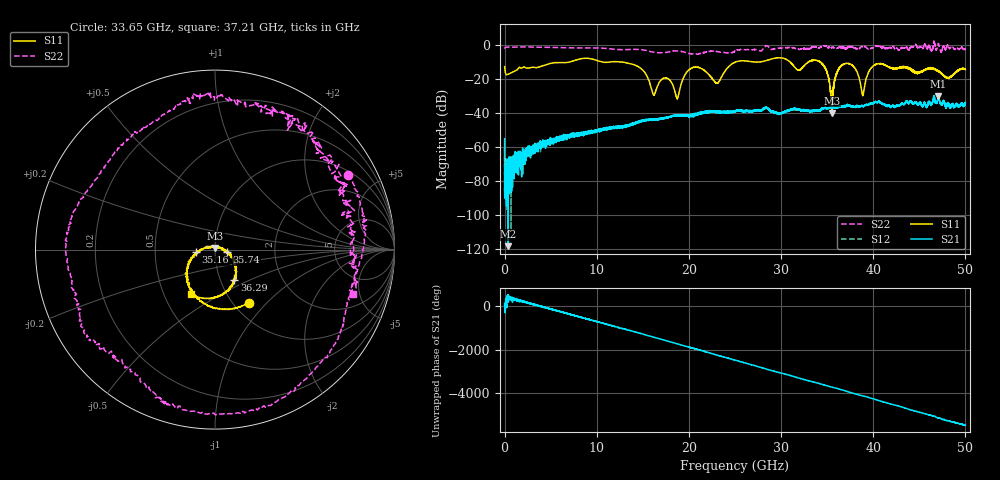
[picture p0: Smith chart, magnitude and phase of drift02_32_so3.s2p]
!Created with skrf (http://scikit-rf.org).
# Hz S RI R 50.0
!freq ReS11 ImS11 ReS21 ImS21 ReS12 ImS12 ReS22 ImS22
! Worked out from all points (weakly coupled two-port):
!   10001 points, 300 kHz to 50 GHz, reference 50 ohm
!   highest |S21| = -30.18 dB at 47.08 GHz (marker M1); lowest = -118.2 dB at 400.3 MHz (marker M2)
!   lowest |S11| = -40.1 dB at 35.5 GHz (marker M3), VSWR 1.02, Z = 50.1 + j0.984 ohm
!   |S11| at or under -10 dB: start of sweep to 7.177 GHz; 12.33 GHz to 25.17 GHz (12.84 GHz wide, 68.5 % of centre); 34.2 GHz to end of sweep (the widest 3 of 14)
!   |S22| runs from -5.7 to 2.5 dB; largest |S21 - S12| = 0.0034
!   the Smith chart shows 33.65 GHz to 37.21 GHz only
!   S11 on the Smith chart (normalised r, x): 33.65 GHz: 1.18, -0.79; 35.16 GHz: 0.81, -0.02; 35.74 GHz: 1.14, -0.03; 36.29 GHz: 1.16, -0.41; 37.21 GHz: 0.69, -0.37
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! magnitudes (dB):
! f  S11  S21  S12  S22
! 300 kHz  -12.9  -55.2  -60.4  -2.0
! 400.3 MHz  -17.3  -118.2  -74.3  -1.5
! 8.335 GHz  -8.2  -52.5  -52.5  -1.9
! 14.03 GHz  -11.7  -46.2  -46.1  -2.7
! 16.15 GHz  -29.4  -43.7  -44.0  -4.5
! 16.67 GHz  -23.3  -43.6  -43.6  -4.7
! 18.74 GHz  -31.7  -41.5  -41.5  -3.7
! 20.23 GHz  -13.9  -41.3  -41.4  -5.5
! 23.04 GHz  -22.6  -39.1  -39.1  -4.1
! 25 GHz  -10.3  -39.2  -39.3  -3.9
! 33.34 GHz  -9.3  -38.9  -38.8  -1.6
! 33.65 GHz  -9.1  -38.9  -38.7  -1.4
! 35.16 GHz  -19.4  -37.2  -37.2  -1.7
! 35.5 GHz  -40.1  -36.6  -36.7  -1.8
! 35.74 GHz  -23.5  -36.9  -36.5  -1.8
! 36.29 GHz  -13.9  -36.7  -36.2  -1.5
! 37.21 GHz  -11.0  -35.7  -35.6  -1.9
! 38.86 GHz  -29.8  -36.2  -35.9  -1.3
! 39.96 GHz  -12.7  -34.5  -34.5  -1.9
! 41.67 GHz  -13.1  -35.5  -35.6  -1.9
! 47.08 GHz  -15.6  -30.2  -30.5  0.6
! 50 GHz  -14.5  -33.9  -34.5  -2.7
